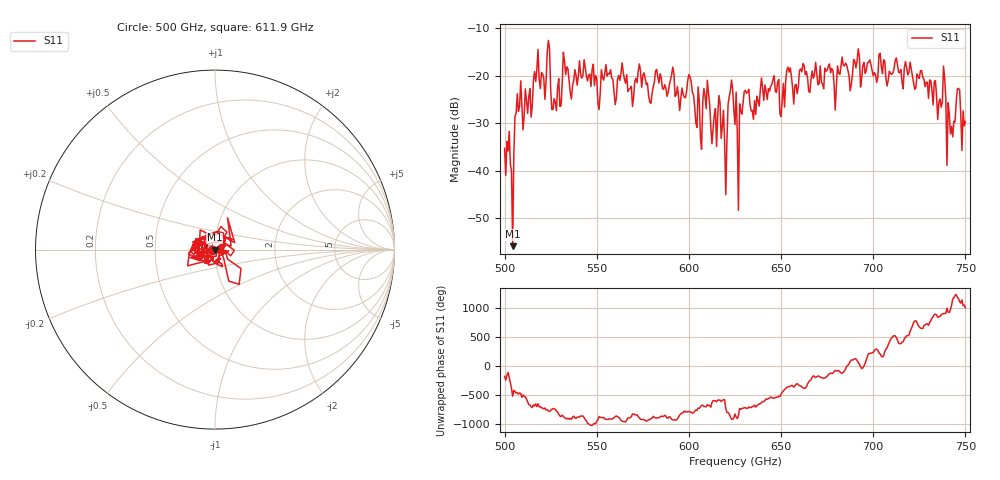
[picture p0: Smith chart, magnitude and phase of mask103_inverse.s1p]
!Created with skrf (http://scikit-rf.org).
# GHz S MA R 50.0
!freq magS11 angS11
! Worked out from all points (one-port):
!   401 points, 500 GHz to 750 GHz, reference 50 ohm
!   lowest |S11| = -55.9 dB at 504.4 GHz (marker M1), VSWR 1.00, Z = 49.8 - j0.0525 ohm
!   |S11| at or under -10 dB: start of sweep to end of sweep
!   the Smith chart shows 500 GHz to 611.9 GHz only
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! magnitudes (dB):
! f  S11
! 500 GHz  -35.3
! 504.4 GHz  -55.9
! 507.5 GHz  -27.5
! 523.8 GHz  -12.5
! 526.9 GHz  -24.8
! 531.2 GHz  -21.5
! 562.5 GHz  -21.0
! 590.6 GHz  -19.8
! 593.8 GHz  -22.3
! 600.6 GHz  -20.2
! 605.6 GHz  -25.4
! 609.4 GHz  -26.9
! 613.8 GHz  -28.3
! 617.5 GHz  -33.2
! 619.4 GHz  -34.0
! 622.5 GHz  -23.2
! 625 GHz  -30.3
! 627.5 GHz  -25.9
! 631.2 GHz  -23.7
! 635 GHz  -29.2
! 656.2 GHz  -22.5
! 687.5 GHz  -23.2
! 691.2 GHz  -16.8
! 718.8 GHz  -19.8
! 738.1 GHz  -18.0
! 741.2 GHz  -28.0
! 746.2 GHz  -22.6
! 750 GHz  -29.6
